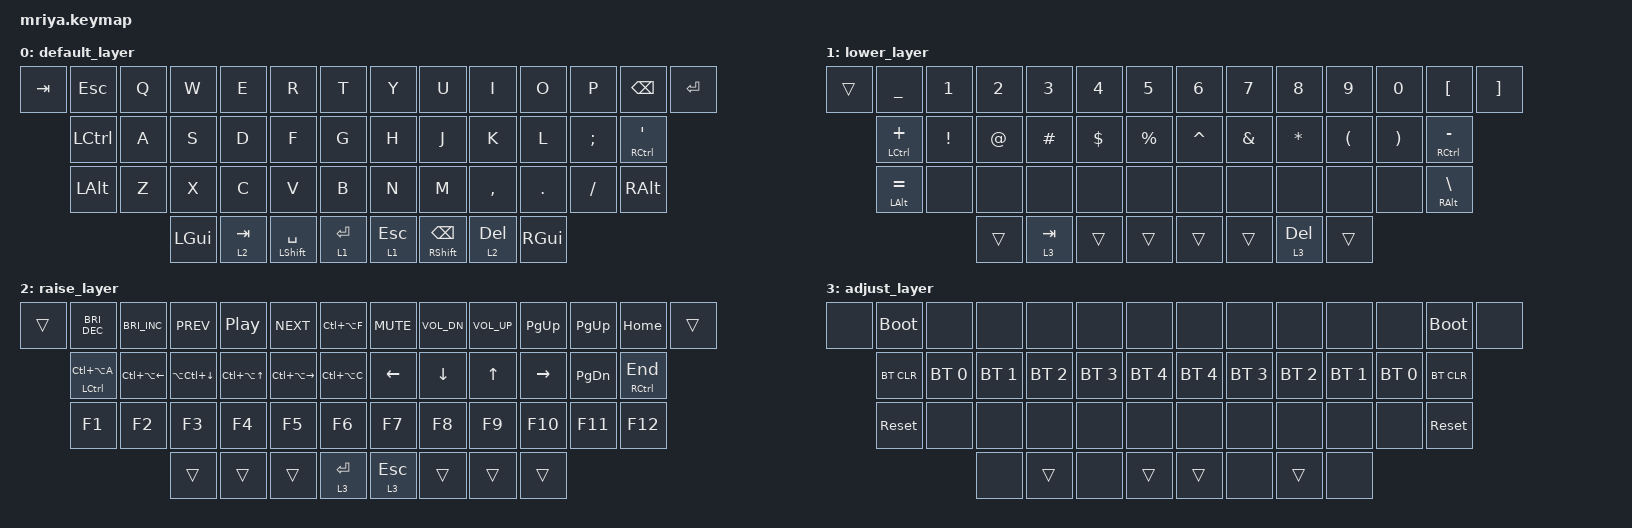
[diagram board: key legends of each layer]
/*
 * Copyright (c) 2023 Andrei Gaevskii
 *
 * SPDX-License-Identifier: MIT
 */

#include <behaviors.dtsi>
#include <dt-bindings/zmk/bt.h>
#include <dt-bindings/zmk/keys.h>

#define DEF 0
#define LWR 1
#define RSE 2
#define ADJ 3

&lt { quick_tap_ms = <200>; };

&mt { quick_tap_ms = <200>; };

/ {
    keymap {
        compatible = "zmk,keymap";

        default_layer {
            bindings = <
&kp TAB  &kp ESCAPE  &kp Q  &kp W     &kp E      &kp R            &kp T          &kp Y         &kp U           &kp I         &kp O     &kp P     &kp BACKSPACE  &kp ENTER
         &kp LCTRL   &kp A  &kp S     &kp D      &kp F            &kp G          &kp H         &kp J           &kp K         &kp L     &kp SEMI  &mt RCTRL SQT
         &kp LALT    &kp Z  &kp X     &kp C      &kp V            &kp B          &kp N         &kp M           &kp COMMA     &kp DOT   &kp FSLH  &kp RALT
                            &kp LGUI  &lt 2 TAB  &mt LSHFT SPACE  &lt 1 ENTER    &lt 1 ESCAPE  &mt RSHFT BSPC  &lt 2 DELETE  &kp RGUI
            >;
        };

        lower_layer {
            bindings = <
&trans  &kp UNDER       &kp NUMBER_1  &kp NUMBER_2  &kp NUMBER_3  &kp NUMBER_4  &kp NUMBER_5    &kp NUMBER_6  &kp NUMBER_7  &kp NUMBER_8  &kp NUMBER_9  &kp NUMBER_0  &kp LEFT_BRACKET         &kp RIGHT_BRACKET
        &mt LCTRL PLUS  &kp EXCL      &kp AT        &kp HASH      &kp DLLR      &kp PRCNT       &kp CARET     &kp AMPS      &kp STAR      &kp LPAR      &kp RPAR      &mt RCTRL MINUS
        &mt LALT EQUAL  &none         &none         &none         &none         &none           &none         &none         &none         &none         &none         &mt RIGHT_ALT BACKSLASH
                                      &trans        &lt 3 TAB     &trans        &trans          &trans        &trans        &lt 3 DEL     &trans
            >;
        };

        raise_layer {
            bindings = <
&trans  &kp C_BRIGHTNESS_DEC  &kp C_BRIGHTNESS_INC  &kp C_PREV        &kp C_PLAY_PAUSE  &kp C_NEXT         &kp LC(LA(F))    &kp C_MUTE  &kp C_VOL_DN  &kp C_VOL_UP  &kp PG_UP  &kp PAGE_UP    &kp HOME       &trans
        &mt LCTRL LC(LA(A))   &kp LC(LA(LEFT))      &kp LA(LC(DOWN))  &kp LC(LA(UP))    &kp LC(LA(RIGHT))  &kp LC(LA(C))    &kp LEFT    &kp DOWN      &kp UP        &kp RIGHT  &kp PAGE_DOWN  &mt RCTRL END
        &kp F1                &kp F2                &kp F3            &kp F4            &kp F5             &kp F6           &kp F7      &kp F8        &kp F9        &kp F10    &kp F11        &kp F12
                                                    &trans            &trans            &trans             &lt 3 RET        &lt 3 ESC   &trans        &trans        &trans
            >;
        };

        adjust_layer {
            bindings = <
&none  &bootloader  &none         &none         &none         &none         &none           &none         &none         &none         &none         &none         &bootloader  &none
       &bt BT_CLR   &bt BT_SEL 0  &bt BT_SEL 1  &bt BT_SEL 2  &bt BT_SEL 3  &bt BT_SEL 4    &bt BT_SEL 4  &bt BT_SEL 3  &bt BT_SEL 2  &bt BT_SEL 1  &bt BT_SEL 0  &bt BT_CLR
       &sys_reset   &none         &none         &none         &none         &none           &none         &none         &none         &none         &none         &sys_reset
                                  &none         &trans        &none         &trans          &trans        &none         &trans        &none
            >;
        };
    };
};
